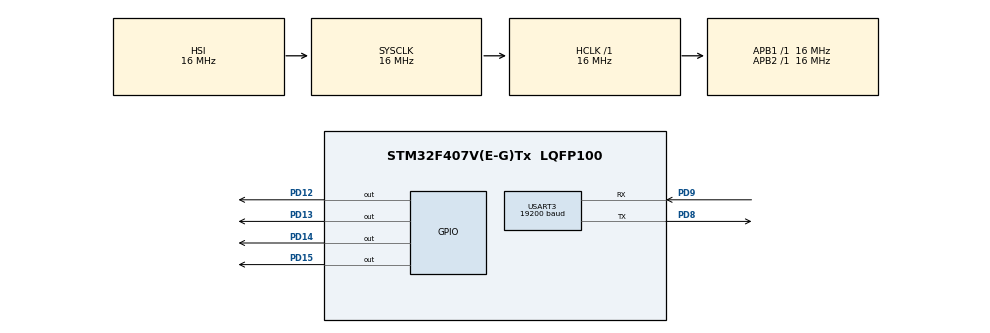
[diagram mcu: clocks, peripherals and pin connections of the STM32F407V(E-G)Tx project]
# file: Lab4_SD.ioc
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Mcu.Family=STM32F4
Mcu.Name=STM32F407V(E-G)Tx
Mcu.Package=LQFP100
NVIC.PriorityGroup=NVIC_PRIORITYGROUP_4
PD12.Signal=GPIO_Output
PD13.Signal=GPIO_Output
PD14.Signal=GPIO_Output
PD15.Signal=GPIO_Output
PD8.Mode=Asynchronous
PD8.Signal=USART3_TX
PD9.Mode=Asynchronous
PD9.Signal=USART3_RX
ProjectManager.HeapSize=0x200
ProjectManager.StackSize=0x400
ProjectManager.TargetToolchain=STM32CubeIDE
RCC.AHBFreq_Value=16000000
RCC.APB1Freq_Value=16000000
RCC.APB2Freq_Value=16000000
RCC.CortexFreq_Value=16000000
RCC.HSE_VALUE=25000000
RCC.HSI_VALUE=16000000
RCC.LSE_VALUE=32768
RCC.SYSCLKFreq_VALUE=16000000
RCC.VCOOutputFreq_Value=192000000
USART3.BaudRate=19200
USART3.VirtualMode=VM_ASYNC
board=custom

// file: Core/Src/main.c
/* USER CODE BEGIN Header */
/**
  ******************************************************************************
  * @file           : main.c
  * @brief          : Main program body
  ******************************************************************************
  * @attention
  *
  * Copyright (c) 2024 STMicroelectronics.
  * All rights reserved.
  *
  * This software is licensed under terms that can be found in the LICENSE file
  * in the root directory of this software component.
  * If no LICENSE file comes with this software, it is provided AS-IS.
  *
  ******************************************************************************
  */
/* USER CODE END Header */
#include "main.h"

UART_HandleTypeDef huart3;

void SystemClock_Config(void);
static void MX_GPIO_Init(void);
static void MX_USART3_UART_Init(void);

int main(void)
{

  /* MCU Configuration--------------------------------------------------------*/

  /* Reset of all peripherals, Initializes the Flash interface and the Systick. */
  HAL_Init();

  /* Configure the system clock */
  SystemClock_Config();

  /* Initialize all configured peripherals */
  MX_GPIO_Init();
  MX_USART3_UART_Init();

  /* Infinite loop */
  /* USER CODE BEGIN WHILE */
  while (1)
  {
	  uint8_t rcvBuf[1];
	  HAL_StatusTypeDef result;

	  result = HAL_UART_Receive(&huart3, rcvBuf, 1, 10);

	  if (result == HAL_OK)
	  {
		  switch (rcvBuf[0])
		  {
		  case '1':
			  HAL_GPIO_WritePin(GPIOD, GPIO_PIN_15, GPIO_PIN_SET);
			  HAL_UART_Transmit(&huart3, (uint8_t *)" - Blue ON\r\n", 12, 100);
			  break;

		  case '2':
			  HAL_GPIO_WritePin(GPIOD, GPIO_PIN_15, GPIO_PIN_RESET);
			  HAL_UART_Transmit(&huart3, (uint8_t *)" - Blue OFF\r\n", 13, 100);
			  break;
		  case '3':
			  HAL_GPIO_WritePin(GPIOD, GPIO_PIN_14, GPIO_PIN_SET);
			  HAL_UART_Transmit(&huart3, (uint8_t *)" - Red ON\r\n", 12, 100);
			  break;
		  case '4':
			  HAL_GPIO_WritePin(GPIOD, GPIO_PIN_14, GPIO_PIN_RESET);
			  HAL_UART_Transmit(&huart3, (uint8_t *)" - Red OFF\r\n", 13, 100);
			  break;
		  case '5':
			  HAL_GPIO_WritePin(GPIOD, GPIO_PIN_13, GPIO_PIN_SET);
			  HAL_UART_Transmit(&huart3, (uint8_t *)" - Orange ON\r\n", 12, 100);
			  break;
		  case '6':
			  HAL_GPIO_WritePin(GPIOD, GPIO_PIN_13, GPIO_PIN_RESET);
			  HAL_UART_Transmit(&huart3, (uint8_t *)" - Orange OFF\r\n", 13, 100);
			  break;
		  case '7':
			  HAL_GPIO_WritePin(GPIOD, GPIO_PIN_12, GPIO_PIN_SET);
			  HAL_UART_Transmit(&huart3, (uint8_t *)" - Green ON\r\n", 12, 100);
			  break;
		  case '8':
			  HAL_GPIO_WritePin(GPIOD, GPIO_PIN_12, GPIO_PIN_RESET);
			  HAL_UART_Transmit(&huart3, (uint8_t *)" - Green OFF\r\n", 13, 100);
			  break;
		  case 'a':
			  HAL_GPIO_WritePin(GPIOD, GPIO_PIN_12, GPIO_PIN_SET);
			  HAL_UART_Transmit(&huart3, (uint8_t *)" - Green ON\r\n", 13, 100);
			  HAL_GPIO_WritePin(GPIOD, GPIO_PIN_13, GPIO_PIN_SET);
			  HAL_UART_Transmit(&huart3, (uint8_t *)" - Orange ON\r\n", 13, 100);
			  HAL_GPIO_WritePin(GPIOD, GPIO_PIN_14, GPIO_PIN_SET);
			  HAL_UART_Transmit(&huart3, (uint8_t *)" - Red ON\r\n", 13, 100);
			  HAL_GPIO_WritePin(GPIOD, GPIO_PIN_15, GPIO_PIN_SET);
			  HAL_UART_Transmit(&huart3, (uint8_t *)" - Blue ON\r\n", 13, 100);

			  break;
		  case 'q':
			  HAL_GPIO_WritePin(GPIOD, GPIO_PIN_12, GPIO_PIN_RESET);
			  HAL_UART_Transmit(&huart3, (uint8_t *)" - Green OFF\r\n", 13, 100);
			  HAL_GPIO_WritePin(GPIOD, GPIO_PIN_13, GPIO_PIN_RESET);
			  HAL_UART_Transmit(&huart3, (uint8_t *)" - Orange OFF\r\n", 13, 100);
			  HAL_GPIO_WritePin(GPIOD, GPIO_PIN_14, GPIO_PIN_RESET);
			  HAL_UART_Transmit(&huart3, (uint8_t *)" - Red OFF\r\n", 13, 100);
			  HAL_GPIO_WritePin(GPIOD, GPIO_PIN_15, GPIO_PIN_RESET);
			  HAL_UART_Transmit(&huart3, (uint8_t *)" - Blue OFF\r\n", 13, 100);

			  break;
		  default:
			  HAL_UART_Transmit(&huart3, (uint8_t *)" - Green ON\r\n", 12, 100);
			  break;
		  }

	  }

    /* USER CODE END WHILE */

  }
}

void SystemClock_Config(void)
{
  RCC_OscInitTypeDef RCC_OscInitStruct = {0};
  RCC_ClkInitTypeDef RCC_ClkInitStruct = {0};

  /** Configure the main internal regulator output voltage
  */
  __HAL_RCC_PWR_CLK_ENABLE();
  __HAL_PWR_VOLTAGESCALING_CONFIG(PWR_REGULATOR_VOLTAGE_SCALE1);

  /** Initializes the RCC Oscillators according to the specified parameters
  * in the RCC_OscInitTypeDef structure.
  */
  RCC_OscInitStruct.OscillatorType = RCC_OSCILLATORTYPE_HSI;
  RCC_OscInitStruct.HSIState = RCC_HSI_ON;
  RCC_OscInitStruct.HSICalibrationValue = RCC_HSICALIBRATION_DEFAULT;
  RCC_OscInitStruct.PLL.PLLState = RCC_PLL_NONE;
  if (HAL_RCC_OscConfig(&RCC_OscInitStruct) != HAL_OK)
  {
    Error_Handler();
  }

  /** Initializes the CPU, AHB and APB buses clocks
  */
  RCC_ClkInitStruct.ClockType = RCC_CLOCKTYPE_HCLK|RCC_CLOCKTYPE_SYSCLK
                              |RCC_CLOCKTYPE_PCLK1|RCC_CLOCKTYPE_PCLK2;
  RCC_ClkInitStruct.SYSCLKSource = RCC_SYSCLKSOURCE_HSI;
  RCC_ClkInitStruct.AHBCLKDivider = RCC_SYSCLK_DIV1;
  RCC_ClkInitStruct.APB1CLKDivider = RCC_HCLK_DIV1;
  RCC_ClkInitStruct.APB2CLKDivider = RCC_HCLK_DIV1;

  if (HAL_RCC_ClockConfig(&RCC_ClkInitStruct, FLASH_LATENCY_0) != HAL_OK)
  {
    Error_Handler();
  }
}

static void MX_USART3_UART_Init(void)
{

  huart3.Instance = USART3;
  huart3.Init.BaudRate = 19200;
  huart3.Init.WordLength = UART_WORDLENGTH_8B;
  huart3.Init.StopBits = UART_STOPBITS_1;
  huart3.Init.Parity = UART_PARITY_NONE;
  huart3.Init.Mode = UART_MODE_TX_RX;
  huart3.Init.HwFlowCtl = UART_HWCONTROL_NONE;
  huart3.Init.OverSampling = UART_OVERSAMPLING_16;
  if (HAL_UART_Init(&huart3) != HAL_OK)
  {
    Error_Handler();
  }

}

static void MX_GPIO_Init(void)
{
  GPIO_InitTypeDef GPIO_InitStruct = {0};

  /* GPIO Ports Clock Enable */
  __HAL_RCC_GPIOD_CLK_ENABLE();

  /*Configure GPIO pin Output Level */
  HAL_GPIO_WritePin(GPIOD, GPIO_PIN_12|GPIO_PIN_13|GPIO_PIN_14|GPIO_PIN_15, GPIO_PIN_RESET);

  /*Configure GPIO pins : PD12 PD13 PD14 PD15 */
  GPIO_InitStruct.Pin = GPIO_PIN_12|GPIO_PIN_13|GPIO_PIN_14|GPIO_PIN_15;
  GPIO_InitStruct.Mode = GPIO_MODE_OUTPUT_PP;
  GPIO_InitStruct.Pull = GPIO_NOPULL;
  GPIO_InitStruct.Speed = GPIO_SPEED_FREQ_LOW;
  HAL_GPIO_Init(GPIOD, &GPIO_InitStruct);

}

void Error_Handler(void)
{
  __disable_irq();
  while (1)
  {
  }
}
